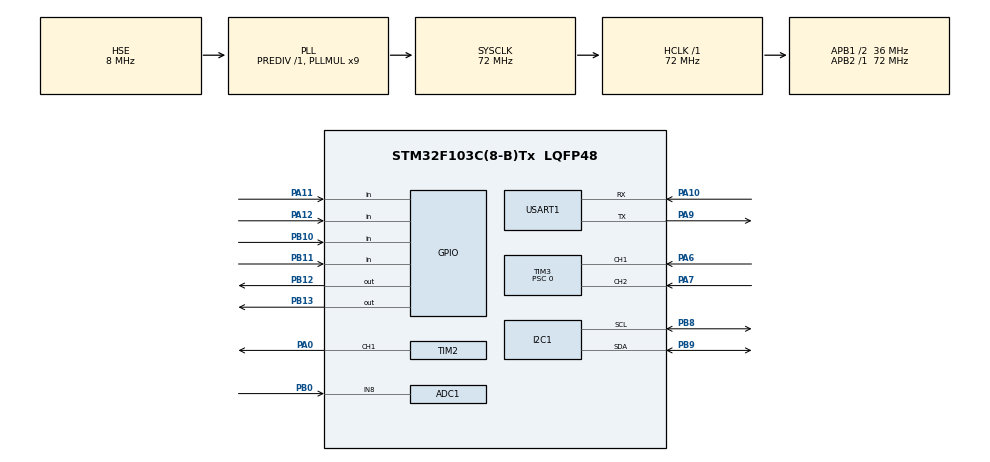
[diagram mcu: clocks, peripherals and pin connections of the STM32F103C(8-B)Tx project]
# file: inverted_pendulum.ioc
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ADC1.Channel-2\#ChannelRegularConversion=ADC_CHANNEL_8
ADC1.ContinuousConvMode=ENABLE
ADC1.NbrOfConversion=1
ADC1.NbrOfConversionFlag=1
ADC1.Rank-2\#ChannelRegularConversion=1
ADC1.SamplingTime-2\#ChannelRegularConversion=ADC_SAMPLETIME_55CYCLES_5
ADC1.master=1
Dma.ADC1.0.Direction=DMA_PERIPH_TO_MEMORY
Dma.ADC1.0.Instance=DMA1_Channel1
Dma.ADC1.0.MemDataAlignment=DMA_MDATAALIGN_HALFWORD
Dma.ADC1.0.MemInc=DMA_MINC_ENABLE
Dma.ADC1.0.Mode=DMA_CIRCULAR
Dma.ADC1.0.PeriphDataAlignment=DMA_PDATAALIGN_HALFWORD
Dma.ADC1.0.PeriphInc=DMA_PINC_DISABLE
Dma.ADC1.0.Priority=DMA_PRIORITY_LOW
Dma.Request0=ADC1
Mcu.Family=STM32F1
Mcu.Name=STM32F103C(8-B)Tx
Mcu.Package=LQFP48
NVIC.DMA1_Channel1_IRQn=true\:0\:0\:false\:false\:true\:false\:true\:true
NVIC.PriorityGroup=NVIC_PRIORITYGROUP_4
NVIC.TIM1_UP_IRQn=true\:0\:0\:false\:false\:true\:true\:true\:true
PA0-WKUP.Signal=S_TIM2_CH1_ETR
PA10.Mode=Asynchronous
PA10.Signal=USART1_RX
PA11.GPIO_PuPd=GPIO_PULLUP
PA11.Signal=GPIO_Input
PA12.GPIO_PuPd=GPIO_PULLUP
PA12.Signal=GPIO_Input
PA13.Mode=Serial_Wire
PA13.Signal=SYS_JTMS-SWDIO
PA14.Mode=Serial_Wire
PA14.Signal=SYS_JTCK-SWCLK
PA6.GPIO_PuPd=GPIO_PULLUP
PA6.Signal=S_TIM3_CH1
PA7.GPIO_PuPd=GPIO_PULLUP
PA7.Signal=S_TIM3_CH2
PA9.Mode=Asynchronous
PA9.Signal=USART1_TX
PB0.Signal=ADCx_IN8
PB10.GPIO_PuPd=GPIO_PULLUP
PB10.Signal=GPIO_Input
PB11.GPIO_PuPd=GPIO_PULLUP
PB11.Signal=GPIO_Input
PB12.Signal=GPIO_Output
PB13.Signal=GPIO_Output
PB8.Mode=I2C
PB8.Signal=I2C1_SCL
PB9.Mode=I2C
PB9.Signal=I2C1_SDA
PD0-OSC_IN.Mode=HSE-External-Oscillator
PD0-OSC_IN.Signal=RCC_OSC_IN
PD1-OSC_OUT.Mode=HSE-External-Oscillator
PD1-OSC_OUT.Signal=RCC_OSC_OUT
ProjectManager.HeapSize=0x200
ProjectManager.StackSize=0x400
ProjectManager.TargetToolchain=CMake
RCC.ADCPresc=RCC_ADCPCLK2_DIV6
RCC.AHBFreq_Value=72000000
RCC.APB1CLKDivider=RCC_HCLK_DIV2
RCC.APB1Freq_Value=36000000
RCC.APB1TimFreq_Value=72000000
RCC.APB2Freq_Value=72000000
RCC.APB2TimFreq_Value=72000000
RCC.HCLKFreq_Value=72000000
RCC.PLLMUL=RCC_PLL_MUL9
RCC.PLLSourceVirtual=RCC_PLLSOURCE_HSE
RCC.SYSCLKFreq_VALUE=72000000
RCC.SYSCLKSource=RCC_SYSCLKSOURCE_PLLCLK
RCC.USBFreq_Value=72000000
SH.ADCx_IN8.0=ADC1_IN8,IN8
SH.S_TIM2_CH1_ETR.0=TIM2_CH1,PWM Generation1 CH1
SH.S_TIM3_CH1.0=TIM3_CH1,Encoder_Interface
SH.S_TIM3_CH2.0=TIM3_CH2,Encoder_Interface
TIM1.Period=999
TIM1.Prescaler=71
TIM2.Channel-PWM\ Generation1\ CH1=TIM_CHANNEL_1
TIM2.Period=7199
TIM3.AutoReloadPreload=TIM_AUTORELOAD_PRELOAD_ENABLE
TIM3.EncoderMode=TIM_ENCODERMODE_TI12
TIM3.IC1Filter=15
TIM3.IC2Filter=15
TIM3.Period=65535
TIM3.Prescaler=0
USART1.VirtualMode=VM_ASYNC
VP_TIM1_VS_ClockSourceINT.Mode=Internal
VP_TIM2_VS_ClockSourceINT.Mode=Internal
board=custom

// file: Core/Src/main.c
/* USER CODE BEGIN Header */
/**
  ******************************************************************************
  * @file           : main.c
  * @brief          : Main program body
  ******************************************************************************
  * @attention
  *
  * Copyright (c) 2026 STMicroelectronics.
  * All rights reserved.
  *
  * This software is licensed under terms that can be found in the LICENSE file
  * in the root directory of this software component.
  * If no LICENSE file comes with this software, it is provided AS-IS.
  *
  ******************************************************************************
  */
/* USER CODE END Header */
#include "main.h"
#include "adc.h"
#include "dma.h"
#include "i2c.h"
#include "tim.h"
#include "usart.h"
#include "gpio.h"

/* USER CODE BEGIN Includes */
#include "global.hpp"
#include "ssd1306.h"
#include "ssd1306_fonts.h"
#include <stdio.h>
/* USER CODE END Includes */

void SystemClock_Config(void);
/* USER CODE BEGIN PFP */
//static uint8_t pos_cnt = 0;  已移至 interrupt.cpp
/* USER CODE END PFP */

int main(void)
{

  /* MCU Configuration--------------------------------------------------------*/

  /* Reset of all peripherals, Initializes the Flash interface and the Systick. */
  HAL_Init();

  /* Configure the system clock */
  SystemClock_Config();

  /* Initialize all configured peripherals */
  MX_GPIO_Init();
  MX_DMA_Init();
  MX_I2C1_Init();
  MX_TIM3_Init();
  MX_TIM2_Init();
  MX_TIM1_Init();
  MX_ADC1_Init();
  MX_USART1_UART_Init();
  /* USER CODE BEGIN 2 */
  sensor.start();
  motor.start();
  HAL_TIM_Base_Start_IT(&htim1);
  ssd1306_Init();

  /* USER CODE END 2 */

  /* Infinite loop */
  /* USER CODE BEGIN WHILE */
  while (1)
  {
    update_all_buttons(button1, button2, button3, button4);
    process_all_buttons(button1, button2, button3, button4);

    char buf[16];

    //=== 状态 ===
    ssd1306_SetCursor(42, 0);
    snprintf(buf, sizeof(buf), "%02d", run_state);
    ssd1306_WriteString(buf, Font_6x8, White);

    //=== 左侧：角度 PID ===
    ssd1306_SetCursor(0, 0);
    ssd1306_WriteString("Angle", Font_6x8, White);

    ssd1306_SetCursor(0, 12);
    snprintf(buf, sizeof(buf), "Kp:%05.3f", (double)anglePID.kp);
    ssd1306_WriteString(buf, Font_6x8, White);

    ssd1306_SetCursor(0, 20);
    snprintf(buf, sizeof(buf), "Ki:%05.3f", (double)anglePID.ki);
    ssd1306_WriteString(buf, Font_6x8, White);

    ssd1306_SetCursor(0, 28);
    snprintf(buf, sizeof(buf), "Kd:%05.3f", (double)anglePID.kd);
    ssd1306_WriteString(buf, Font_6x8, White);

    ssd1306_SetCursor(0, 40);
    snprintf(buf, sizeof(buf), "Tar:%04.0f", (double)anglePID.target);
    ssd1306_WriteString(buf, Font_6x8, White);

    ssd1306_SetCursor(0, 48);
    snprintf(buf, sizeof(buf), "Act:%04d", (int)sensor.get_angle());
    ssd1306_WriteString(buf, Font_6x8, White);

    //=== 右侧：位置 PID ===
    ssd1306_SetCursor(64, 0);
    ssd1306_WriteString("Location", Font_6x8, White);

    ssd1306_SetCursor(64, 12);
    snprintf(buf, sizeof(buf), "Kp:%05.3f", (double)positionPID.kp);
    ssd1306_WriteString(buf, Font_6x8, White);

    ssd1306_SetCursor(64, 20);
    snprintf(buf, sizeof(buf), "Ki:%05.3f", (double)positionPID.ki);
    ssd1306_WriteString(buf, Font_6x8, White);

    ssd1306_SetCursor(64, 28);
    snprintf(buf, sizeof(buf), "Kd:%05.3f", (double)positionPID.kd);
    ssd1306_WriteString(buf, Font_6x8, White);

    ssd1306_SetCursor(64, 40);
    snprintf(buf, sizeof(buf), "Tar:%.2f", (double)positionPID.target);
    ssd1306_WriteString(buf, Font_6x8, White);

    ssd1306_SetCursor(64, 48);
    snprintf(buf, sizeof(buf), "Act:%.2f", motor.get_angle());
    ssd1306_WriteString(buf, Font_6x8, White);

    ssd1306_UpdateScreen();

    /* USER CODE END WHILE */

  }
}

void SystemClock_Config(void)
{
  RCC_OscInitTypeDef RCC_OscInitStruct = {0};
  RCC_ClkInitTypeDef RCC_ClkInitStruct = {0};
  RCC_PeriphCLKInitTypeDef PeriphClkInit = {0};

  /** Initializes the RCC Oscillators according to the specified parameters
  * in the RCC_OscInitTypeDef structure.
  */
  RCC_OscInitStruct.OscillatorType = RCC_OSCILLATORTYPE_HSE;
  RCC_OscInitStruct.HSEState = RCC_HSE_ON;
  RCC_OscInitStruct.HSEPredivValue = RCC_HSE_PREDIV_DIV1;
  RCC_OscInitStruct.HSIState = RCC_HSI_ON;
  RCC_OscInitStruct.PLL.PLLState = RCC_PLL_ON;
  RCC_OscInitStruct.PLL.PLLSource = RCC_PLLSOURCE_HSE;
  RCC_OscInitStruct.PLL.PLLMUL = RCC_PLL_MUL9;
  if (HAL_RCC_OscConfig(&RCC_OscInitStruct) != HAL_OK)
  {
    Error_Handler();
  }

  /** Initializes the CPU, AHB and APB buses clocks
  */
  RCC_ClkInitStruct.ClockType = RCC_CLOCKTYPE_HCLK|RCC_CLOCKTYPE_SYSCLK
                              |RCC_CLOCKTYPE_PCLK1|RCC_CLOCKTYPE_PCLK2;
  RCC_ClkInitStruct.SYSCLKSource = RCC_SYSCLKSOURCE_PLLCLK;
  RCC_ClkInitStruct.AHBCLKDivider = RCC_SYSCLK_DIV1;
  RCC_ClkInitStruct.APB1CLKDivider = RCC_HCLK_DIV2;
  RCC_ClkInitStruct.APB2CLKDivider = RCC_HCLK_DIV1;

  if (HAL_RCC_ClockConfig(&RCC_ClkInitStruct, FLASH_LATENCY_2) != HAL_OK)
  {
    Error_Handler();
  }
  PeriphClkInit.PeriphClockSelection = RCC_PERIPHCLK_ADC;
  PeriphClkInit.AdcClockSelection = RCC_ADCPCLK2_DIV6;
  if (HAL_RCCEx_PeriphCLKConfig(&PeriphClkInit) != HAL_OK)
  {
    Error_Handler();
  }
}

void Error_Handler(void)
{
  __disable_irq();
  while (1)
  {
  }
}
